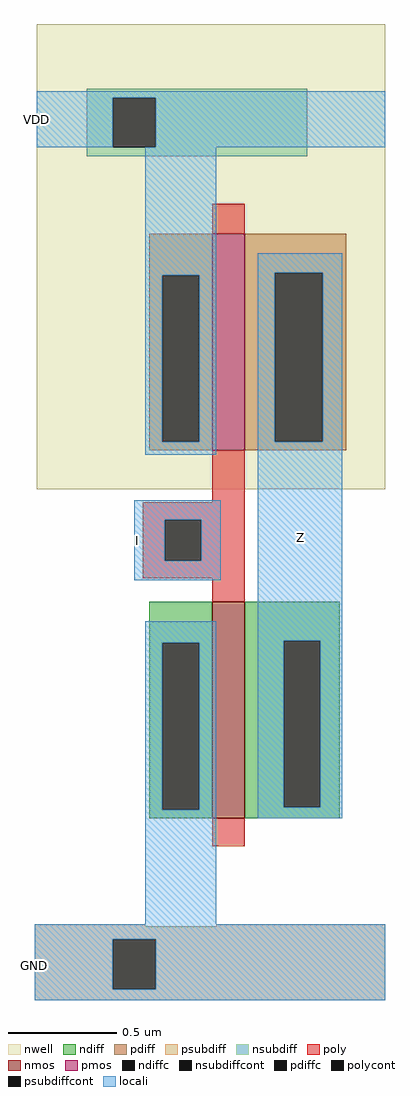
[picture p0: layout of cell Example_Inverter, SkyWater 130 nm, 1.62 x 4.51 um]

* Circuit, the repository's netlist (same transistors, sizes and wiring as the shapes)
* NGSPICE file created from Example_Inverter.ext - technology: sky130A

.subckt Example_Inverter VDD I Z GND
X0 Z I GND GND sky130_fd_pr__nfet_01v8 ad=0.44 pd=2.88 as=0.29 ps=2.58 w=1 l=0.15
X1 Z I VDD VDD sky130_fd_pr__pfet_01v8 ad=0.47 pd=2.94 as=0.29 ps=2.58 w=1 l=0.15
.ends

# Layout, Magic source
magic
tech sky130A
<< nwell >>
rect -80 140 81 355
<< nmos >>
rect 1 -12 16 88
<< pmos >>
rect 1 158 16 258
<< ndiff >>
rect -28 69 1 88
rect -28 -8 -22 69
rect -5 -8 1 69
rect -28 -12 1 -8
rect 16 70 60 88
rect 16 -7 34 70
rect 51 -7 60 70
rect 16 -12 60 -7
<< pdiff >>
rect -28 239 1 258
rect -28 162 -22 239
rect -5 162 1 239
rect -28 158 1 162
rect 16 240 63 258
rect 16 162 30 240
rect 52 162 63 240
rect 16 158 63 162
<< ndiffc >>
rect -22 -8 -5 69
rect 34 -7 51 70
<< pdiffc >>
rect -22 162 -5 239
rect 30 162 52 240
<< psubdiff >>
rect -81 -62 -30 -61
rect 3 -62 81 -61
rect -81 -68 81 -62
rect -81 -91 -45 -68
rect -25 -91 81 -68
rect -81 -96 81 -91
<< nsubdiff >>
rect -57 321 45 325
rect -57 298 -45 321
rect -25 298 45 321
rect -57 294 45 298
<< psubdiffcont >>
rect -45 -91 -25 -68
<< nsubdiffcont >>
rect -45 298 -25 321
<< poly >>
rect 1 258 16 272
rect 1 134 16 158
rect -31 126 16 134
rect -31 107 -21 126
rect -4 107 16 126
rect -31 99 16 107
rect 1 88 16 99
rect 1 -25 16 -12
<< polycont >>
rect -21 107 -4 126
<< locali >>
rect -80 321 81 324
rect -80 298 -45 321
rect -25 298 81 321
rect -30 239 3 298
rect -30 162 -22 239
rect -5 162 3 239
rect -30 156 3 162
rect 22 240 61 249
rect 22 162 30 240
rect 52 162 61 240
rect -35 126 5 135
rect -35 107 -21 126
rect -4 107 5 126
rect -35 98 5 107
rect -30 69 3 79
rect -30 -8 -22 69
rect -5 -8 3 69
rect -30 -61 3 -8
rect 22 70 61 162
rect 22 -7 34 70
rect 51 -7 61 70
rect 22 -12 61 -7
rect -81 -68 81 -61
rect -81 -91 -45 -68
rect -25 -91 81 -68
rect -81 -96 81 -91
<< labels >>
rlabel locali -80 311 -80 311 3 VDD
port 1 e
rlabel locali -81 -80 -81 -80 3 GND
port 2 e
rlabel locali -35 98 -32 135 1 I
port 3 n
rlabel locali 31 111 53 124 1 Z
port 4 n
<< end >>
